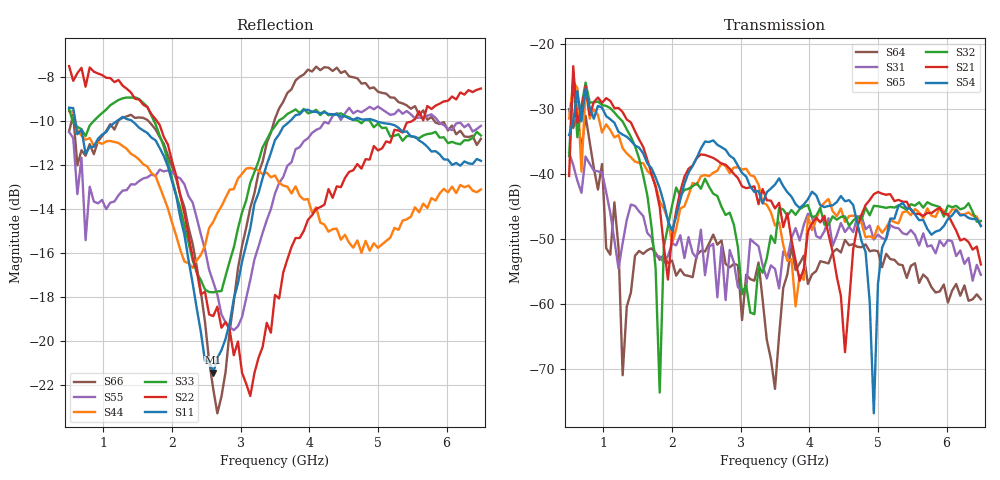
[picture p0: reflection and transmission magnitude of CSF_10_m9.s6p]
!Keysight Technologies,M9804A,MY58100912,A.14.10.03
!Date: Thursday, April 27, 2023 10:28:33
!Correction: S11(C  6-Port  )
!S12(C  6-Port  )
!S13(C  6-Port  )
!S14(C  6-Port  )
!S15(C  6-Port  )
!S16(C  6-Port  )
!S21(C  6-Port  )
!S22(C  6-Port  )
!S23(C  6-Port  )
!S24(C  6-Port  )
!S25(C  6-Port  )
!S26(C  6-Port  )
!S31(C  6-Port  )
!S32(C  6-Port  )
!S33(C  6-Port  )
!S34(C  6-Port  )
!S35(C  6-Port  )
!S36(C  6-Port  )
!S41(C  6-Port  )
!S42(C  6-Port  )
!S43(C  6-Port  )
!S44(C  6-Port  )
!S45(C  6-Port  )
!S46(C  6-Port  )
!S51(C  6-Port  )
!S52(C  6-Port  )
!S53(C  6-Port  )
!S54(C  6-Port  )
!S55(C  6-Port  )
!S56(C  6-Port  )
!S61(C  6-Port  )
!S62(C  6-Port  )
!S63(C  6-Port  )
!S64(C  6-Port  )
!S65(C  6-Port  )
!S66(C  6-Port  )
!S6P File: Measurement: :
# Hz S  RI  R 50
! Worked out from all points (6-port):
!   101 points, 500 MHz to 6.5 GHz, reference 50 ohm
!   strongest paths, dB at 500 MHz, 2 GHz, 3.5 GHz, 5 GHz, 6.5 GHz:
!     S54: -34.0, -48.7, -41.6, -57.0, -48.0
!     S21: -40.3, -49.5, -45.3, -42.8, -53.9
!     S32: -37.2, -44.9, -50.6, -45.0, -47.2
!     S65: -31.5, -50.8, -47.9, -48.0, -48.0
!     S31: -36.7, -50.7, -54.6, -49.3, -55.5
!     S64: -30.0, -53.3, -73.1, -51.9, -59.3
!   lowest |S11| = -21.5 dB at 2.6 GHz (marker M1), VSWR 1.18, Z = 42.5 + j2.22 ohm
!   |S11| at or under -10 dB: 589.9 MHz to 1.194 GHz (604.4 MHz wide, 67.8 % of centre); 1.419 GHz to 3.717 GHz (2.298 GHz wide, 89.5 % of centre); 4.973 GHz to end of sweep
